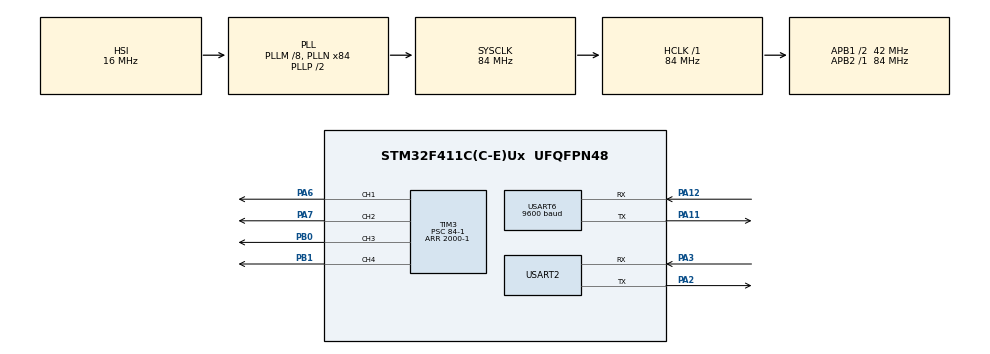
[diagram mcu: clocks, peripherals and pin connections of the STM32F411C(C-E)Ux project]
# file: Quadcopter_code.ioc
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Mcu.Family=STM32F4
Mcu.Name=STM32F411C(C-E)Ux
Mcu.Package=UFQFPN48
NVIC.FPU_IRQn=true\:0\:0\:false\:false\:true\:true\:false
NVIC.PriorityGroup=NVIC_PRIORITYGROUP_4
NVIC.USART6_IRQn=true\:0\:0\:false\:false\:true\:true\:true
PA11.Mode=Asynchronous
PA11.Signal=USART6_TX
PA12.Mode=Asynchronous
PA12.Signal=USART6_RX
PA13.Mode=Serial_Wire
PA13.Signal=SYS_JTMS-SWDIO
PA14.Mode=Serial_Wire
PA14.Signal=SYS_JTCK-SWCLK
PA2.Mode=Asynchronous
PA2.Signal=USART2_TX
PA3.Mode=Asynchronous
PA3.Signal=USART2_RX
PA6.Signal=S_TIM3_CH1
PA7.Signal=S_TIM3_CH2
PB0.Signal=S_TIM3_CH3
PB1.Signal=S_TIM3_CH4
ProjectManager.HeapSize=0x200
ProjectManager.StackSize=0x400
ProjectManager.TargetToolchain=STM32CubeIDE
RCC.48MHZClocksFreq_Value=42000000
RCC.AHBFreq_Value=84000000
RCC.APB1CLKDivider=RCC_HCLK_DIV2
RCC.APB1Freq_Value=42000000
RCC.APB1TimFreq_Value=84000000
RCC.APB2Freq_Value=84000000
RCC.APB2TimFreq_Value=84000000
RCC.CortexFreq_Value=84000000
RCC.HCLKFreq_Value=84000000
RCC.HSE_VALUE=25000000
RCC.HSI_VALUE=16000000
RCC.PLLM=8
RCC.PLLN=84
RCC.SYSCLKFreq_VALUE=84000000
RCC.SYSCLKSource=RCC_SYSCLKSOURCE_PLLCLK
RCC.VCOOutputFreq_Value=168000000
SH.S_TIM3_CH1.0=TIM3_CH1,PWM Generation1 CH1
SH.S_TIM3_CH2.0=TIM3_CH2,PWM Generation2 CH2
SH.S_TIM3_CH3.0=TIM3_CH3,PWM Generation3 CH3
SH.S_TIM3_CH4.0=TIM3_CH4,PWM Generation4 CH4
TIM3.AutoReloadPreload=TIM_AUTORELOAD_PRELOAD_ENABLE
TIM3.Channel-PWM\ Generation1\ CH1=TIM_CHANNEL_1
TIM3.Channel-PWM\ Generation2\ CH2=TIM_CHANNEL_2
TIM3.Channel-PWM\ Generation3\ CH3=TIM_CHANNEL_3
TIM3.Channel-PWM\ Generation4\ CH4=TIM_CHANNEL_4
TIM3.Period=2000-1
TIM3.Prescaler=84-1
USART2.VirtualMode=VM_ASYNC
USART6.BaudRate=9600
USART6.VirtualMode=VM_ASYNC
VP_TIM3_VS_ClockSourceINT.Mode=Internal
board=custom

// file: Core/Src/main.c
/* USER CODE BEGIN Header */
/**
  ******************************************************************************
  * @file           : main.c
  * @brief          : Main program body
  ******************************************************************************
  * @attention
  *
  * <h2><center>&copy; Copyright (c) 2021 STMicroelectronics.
  * All rights reserved.</center></h2>
  *
  * This software component is licensed by ST under BSD 3-Clause license,
  * the "License"; You may not use this file except in compliance with the
  * License. You may obtain a copy of the License at:
  *                        opensource.org/licenses/BSD-3-Clause
  *
  ******************************************************************************
  */
/* USER CODE END Header */
#include "main.h"
#include "tim.h"
#include "usart.h"
#include "gpio.h"

/* USER CODE BEGIN Includes */
#include <stdio.h>
#include <string.h>

// My libraries
#include "ESC_ctrl.h"
#include "debug.h"

/* USER CODE END Includes */

/* USER CODE BEGIN PD */
#define RX_MSG_LEN 3
/* USER CODE END PD */

/* USER CODE BEGIN PV */

// DEBUG MESSAGES
int msgLen;
char msgDebug[100];

// RECEIVE INFO MESSAGE
uint8_t msgRx[RX_MSG_LEN];

//Define flags
int BLUE_BUTTON = 0;

// CONTAINERS
int dutyCycle = 0;

/* USER CODE END PV */

void SystemClock_Config(void);

int main(void)
{

  /* MCU Configuration--------------------------------------------------------*/

  /* Reset of all peripherals, Initializes the Flash interface and the Systick. */
  HAL_Init();

  /* Configure the system clock */
  SystemClock_Config();

  /* Initialize all configured peripherals */
  MX_GPIO_Init();
  MX_TIM3_Init();
  MX_USART2_UART_Init();
  MX_USART6_UART_Init();
  /* USER CODE BEGIN 2 */

  PRINTF("\n\r BEGINNING OF THE CODE \n\n\r");

  // Start the counter for the PWM signal
  HAL_TIM_PWM_Start(&htim3, TIM_CHANNEL_1);
  HAL_TIM_PWM_Start(&htim3, TIM_CHANNEL_2);
  HAL_TIM_PWM_Start(&htim3, TIM_CHANNEL_3);
  HAL_TIM_PWM_Start(&htim3, TIM_CHANNEL_4);

  HAL_UART_Receive_IT(&huart6, (uint8_t*)cmd_rx, 1);

  ESC_STATUS ESC_speed;

  ESC_speed.FR = 0;
  ESC_speed.FL = 0;
  ESC_speed.RR = 0;
  ESC_speed.RL = 0;

  TIM3->CCR1 = ESC_speed.FR + 1000;
  TIM3->CCR2 = ESC_speed.FL + 1000;
  TIM3->CCR3 = ESC_speed.RR + 1000;
  TIM3->CCR4 = ESC_speed.RL + 1000;

  /* USER CODE END 2 */

  /* Infinite loop */
  /* USER CODE BEGIN WHILE */
  while (1)
  {

	  if(BLUE_BUTTON == 1){

		  //HAL_UART_Transmit(&huart2, (uint8_t*)cmd_rx, 1, 1000);

		  CMD_transform(&ESC_speed, cmd_rx[0]);
		  ESC_setSpeed(&ESC_speed);

		  msgLen = sprintf(msgDebug, "\n\r BLUETOOTH MSG");
		  HAL_UART_Transmit(&huart2, (uint8_t*)msgDebug, msgLen, 10);
		  msgLen = sprintf(msgDebug, "\n\r   FRONTT LEFT %d  -  FRONT RIGHT %d  -  REAR LEFT %d - REAR RIGHT %d", ESC_speed.FL, ESC_speed.FR, ESC_speed.RL, ESC_speed.RR);
		  HAL_UART_Transmit(&huart2, (uint8_t*)msgDebug, msgLen, 10);

		  BLUE_BUTTON = 0;
	  }

    /* USER CODE END WHILE */

  }
}

void SystemClock_Config(void)
{
  RCC_OscInitTypeDef RCC_OscInitStruct = {0};
  RCC_ClkInitTypeDef RCC_ClkInitStruct = {0};

  /** Configure the main internal regulator output voltage
  */
  __HAL_RCC_PWR_CLK_ENABLE();
  __HAL_PWR_VOLTAGESCALING_CONFIG(PWR_REGULATOR_VOLTAGE_SCALE1);
  /** Initializes the RCC Oscillators according to the specified parameters
  * in the RCC_OscInitTypeDef structure.
  */
  RCC_OscInitStruct.OscillatorType = RCC_OSCILLATORTYPE_HSI;
  RCC_OscInitStruct.HSIState = RCC_HSI_ON;
  RCC_OscInitStruct.HSICalibrationValue = RCC_HSICALIBRATION_DEFAULT;
  RCC_OscInitStruct.PLL.PLLState = RCC_PLL_ON;
  RCC_OscInitStruct.PLL.PLLSource = RCC_PLLSOURCE_HSI;
  RCC_OscInitStruct.PLL.PLLM = 8;
  RCC_OscInitStruct.PLL.PLLN = 84;
  RCC_OscInitStruct.PLL.PLLP = RCC_PLLP_DIV2;
  RCC_OscInitStruct.PLL.PLLQ = 4;
  if (HAL_RCC_OscConfig(&RCC_OscInitStruct) != HAL_OK)
  {
    Error_Handler();
  }
  /** Initializes the CPU, AHB and APB buses clocks
  */
  RCC_ClkInitStruct.ClockType = RCC_CLOCKTYPE_HCLK|RCC_CLOCKTYPE_SYSCLK
                              |RCC_CLOCKTYPE_PCLK1|RCC_CLOCKTYPE_PCLK2;
  RCC_ClkInitStruct.SYSCLKSource = RCC_SYSCLKSOURCE_PLLCLK;
  RCC_ClkInitStruct.AHBCLKDivider = RCC_SYSCLK_DIV1;
  RCC_ClkInitStruct.APB1CLKDivider = RCC_HCLK_DIV2;
  RCC_ClkInitStruct.APB2CLKDivider = RCC_HCLK_DIV1;

  if (HAL_RCC_ClockConfig(&RCC_ClkInitStruct, FLASH_LATENCY_2) != HAL_OK)
  {
    Error_Handler();
  }
}

/* USER CODE BEGIN 4 */

void HAL_GPIO_EXTI_Callback(uint16_t GPIO_Pin){

	if(GPIO_Pin==B1_Pin){

		msgLen = sprintf(msgDebug, "BLUE BUTTON PRESSED \n\r");
		if( HAL_UART_Transmit(&huart2, (uint8_t*)msgDebug, msgLen, 1000) != HAL_OK ){Error_Handler();}
		msgLen = sprintf(msgDebug, "  Specify the value of the duty cycle in between 0 and 100 (3 digits required _ _ _) -> \n\r");
		if( HAL_UART_Transmit(&huart2, (uint8_t*)msgDebug, msgLen, 1000) != HAL_OK ){Error_Handler();}
		// Receive letter
		if( HAL_UART_Receive(&huart2, (uint8_t*)msgRx, 3, 1000) != HAL_OK ){Error_Handler();}
		while(HAL_UART_GetState(&huart2) != HAL_UART_STATE_READY){}

		// Transform Rx message in number
		dutyCycle = (int)(msgRx[0]-48)*100 + (int)(msgRx[1]-48)*10 +  (int)(msgRx[2]-48);
		if(dutyCycle > 100){
			dutyCycle = 100;
		}

		msgLen = sprintf(msgDebug, "  Pulse value is now %d \n\r", dutyCycle);
		if( HAL_UART_Transmit(&huart2, (uint8_t*)msgDebug, msgLen, 1000) != HAL_OK ){Error_Handler();}

		BLUE_BUTTON = 1;
	}
}

void HAL_UART_RxCpltCallback(UART_HandleTypeDef * huart){

	if(BLUE_BUTTON==0){
		BLUE_BUTTON = 1;
	}

	HAL_UART_Receive_IT(&huart6, (uint8_t*)cmd_rx, 1);
}

/* USER CODE END 4 */

void Error_Handler(void)
{
  __disable_irq();
  while (1)
  {
  }
}

/************************ (C) COPYRIGHT STMicroelectronics *****END OF FILE****/
